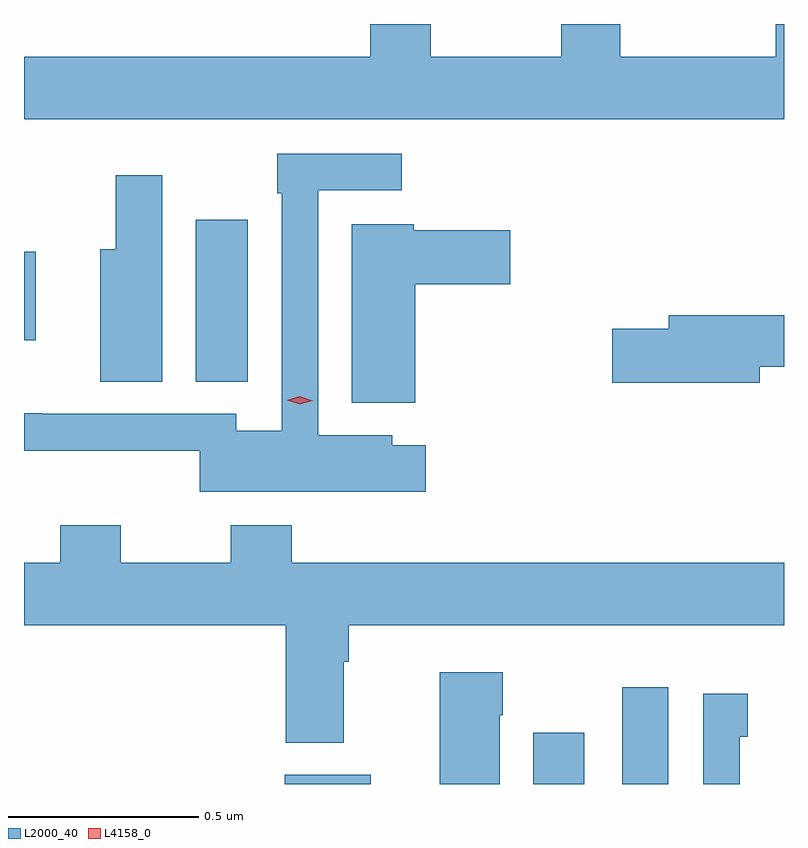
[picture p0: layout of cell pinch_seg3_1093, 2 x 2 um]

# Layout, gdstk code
import gdstk
lib = gdstk.Library(unit=1e-6, precision=1e-09)
def R(c, l, rs):  # rectangles x0, y0, x1, y1
    for r in rs: c.add(gdstk.rectangle(r[:2], r[2:], *l))
def P(c, l, *ps):  # polygons
    for p in ps: c.add(gdstk.Polygon(p, *l))
L2000_40 = (2000, 40)
L4158_0 = (4158, 0)

pinch_seg3_1093 = lib.new_cell('pinch_seg3_1093')
R(pinch_seg3_1093, L2000_40, [(279.026,741.79,279.253,741.814), (279.68,741.79,279.814,741.925), (279.914,741.79,280.036,742.045), (278.792,742.849,278.929,743.275), (278.34,742.958,278.371,743.191)])
P(pinch_seg3_1093, L2000_40, [(280.34,743.79),(280.318,743.79),(280.318,743.704),(279.909,743.704),(279.909,743.79),(279.754,743.79),(279.754,743.704),(279.411,743.704),(279.411,743.79),(279.251,743.79),(279.251,743.704),(278.34,743.704),(278.34,743.54),(280.34,743.54)],
  [(279.397,742.681),(279.309,742.681),(279.309,742.708),(279.114,742.708),(279.114,743.352),(279.334,743.352),(279.334,743.448),(279.006,743.448),(279.006,743.345),(279.018,743.345),(279.018,742.72),(278.898,742.72),(278.898,742.764),(278.389,742.764),(278.389,742.766),(278.34,742.766),(278.34,742.667),(278.802,742.667),(278.802,742.559),(279.397,742.559)],
  [(278.704,743.392),(278.582,743.392),(278.582,743.197),(278.54,743.197),(278.54,742.849),(278.704,742.849)],
  [(279.37,743.105),(279.619,743.105),(279.619,743.247),(279.366,743.247),(279.366,743.263),(279.203,743.263),(279.203,742.793),(279.37,742.793)],
  [(280.276,742.888),(280.34,742.888),(280.34,743.024),(280.037,743.024),(280.037,742.988),(279.888,742.988),(279.888,742.846),(280.276,742.846)],
  [(279.029,741.899),(279.181,741.899),(279.181,742.112),(279.194,742.112),(279.194,742.208),(280.34,742.208),(280.34,742.372),(279.044,742.372),(279.044,742.471),(278.884,742.471),(278.884,742.372),(278.595,742.372),(278.595,742.471),(278.435,742.471),(278.435,742.372),(278.34,742.372),(278.34,742.208),(279.029,742.208)],
  [(279.592,741.971),(279.6,741.971),(279.6,742.084),(279.434,742.084),(279.434,741.79),(279.592,741.79)],
  [(280.224,741.914),(280.244,741.914),(280.244,742.027),(280.128,742.027),(280.128,741.79),(280.224,741.79)])
P(pinch_seg3_1093, L4158_0, [(279.065,742.79),(279.031,742.8),(279.03,742.8),(279.031,742.8),(279.066,742.81),(279.1,742.799),(279.101,742.799),(279.1,742.799)])

lib.write_gds('pinch_seg3_1093.gds')
